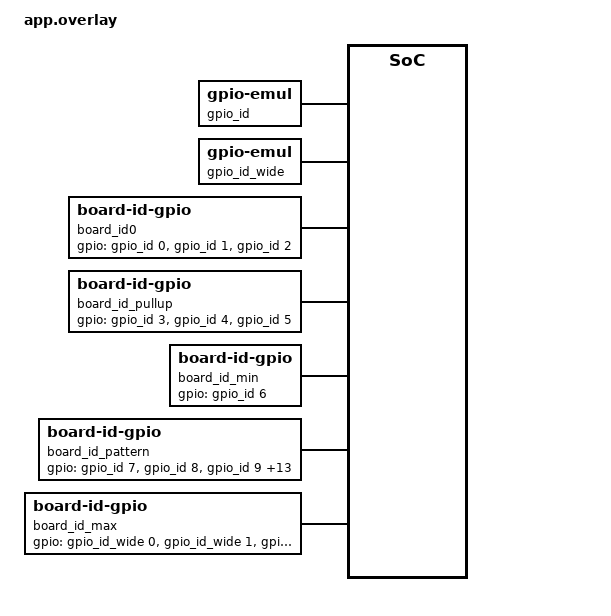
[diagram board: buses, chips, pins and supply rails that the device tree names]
/*
 * SPDX-License-Identifier: Apache-2.0
 * Copyright (c) 2026 The Zephyr Project Contributors
 * Copyright (c) 2026 Dev It Wise
 */

#include <zephyr/dt-bindings/gpio/gpio.h>

/ {
	gpio_id: gpio-id-emul {
		compatible = "zephyr,gpio-emul";
		gpio-controller;
		#gpio-cells = <2>;
		ngpios = <32>;
		status = "okay";
	};

	gpio_id_wide: gpio-id-wide-emul {
		compatible = "zephyr,gpio-emul";
		gpio-controller;
		#gpio-cells = <2>;
		ngpios = <32>;
		status = "okay";
	};

	board_id0: board-id0 {
		compatible = "zephyr,board-id-gpio";
		gpios = <&gpio_id 0 GPIO_ACTIVE_HIGH>,
			<&gpio_id 1 GPIO_ACTIVE_HIGH>,
			<&gpio_id 2 GPIO_ACTIVE_HIGH>;
	};

	board_id_pullup: board-id-pullup {
		compatible = "zephyr,board-id-gpio";
		gpios = <&gpio_id 3 (GPIO_ACTIVE_HIGH | GPIO_PULL_UP)>,
			<&gpio_id 4 (GPIO_ACTIVE_HIGH | GPIO_PULL_UP)>,
			<&gpio_id 5 (GPIO_ACTIVE_HIGH | GPIO_PULL_UP)>;
	};

	board_id_min: board-id-min {
		compatible = "zephyr,board-id-gpio";
		gpios = <&gpio_id 6 GPIO_ACTIVE_HIGH>;
	};

	/*
	 * Known bit pattern to pin the emitted byte order: bit0 (gpios index
	 * 7, first entry) and bit15 (index 22, last entry) pulled high,
	 * everything between floating low. Packed value 0x8001; the driver
	 * must emit it big-endian as { 0x80, 0x01 }.
	 */
	board_id_pattern: board-id-pattern {
		compatible = "zephyr,board-id-gpio";
		gpios = <&gpio_id 7 (GPIO_ACTIVE_HIGH | GPIO_PULL_UP)>,
			<&gpio_id 8 GPIO_ACTIVE_HIGH>,
			<&gpio_id 9 GPIO_ACTIVE_HIGH>,
			<&gpio_id 10 GPIO_ACTIVE_HIGH>,
			<&gpio_id 11 GPIO_ACTIVE_HIGH>,
			<&gpio_id 12 GPIO_ACTIVE_HIGH>,
			<&gpio_id 13 GPIO_ACTIVE_HIGH>,
			<&gpio_id 14 GPIO_ACTIVE_HIGH>,
			<&gpio_id 15 GPIO_ACTIVE_HIGH>,
			<&gpio_id 16 GPIO_ACTIVE_HIGH>,
			<&gpio_id 17 GPIO_ACTIVE_HIGH>,
			<&gpio_id 18 GPIO_ACTIVE_HIGH>,
			<&gpio_id 19 GPIO_ACTIVE_HIGH>,
			<&gpio_id 20 GPIO_ACTIVE_HIGH>,
			<&gpio_id 21 GPIO_ACTIVE_HIGH>,
			<&gpio_id 22 (GPIO_ACTIVE_HIGH | GPIO_PULL_UP)>;
	};

	board_id_max: board-id-max {
		compatible = "zephyr,board-id-gpio";
		gpios = <&gpio_id_wide 0 (GPIO_ACTIVE_HIGH | GPIO_PULL_UP)>,
			<&gpio_id_wide 1 (GPIO_ACTIVE_HIGH | GPIO_PULL_UP)>,
			<&gpio_id_wide 2 (GPIO_ACTIVE_HIGH | GPIO_PULL_UP)>,
			<&gpio_id_wide 3 (GPIO_ACTIVE_HIGH | GPIO_PULL_UP)>,
			<&gpio_id_wide 4 (GPIO_ACTIVE_HIGH | GPIO_PULL_UP)>,
			<&gpio_id_wide 5 (GPIO_ACTIVE_HIGH | GPIO_PULL_UP)>,
			<&gpio_id_wide 6 (GPIO_ACTIVE_HIGH | GPIO_PULL_UP)>,
			<&gpio_id_wide 7 (GPIO_ACTIVE_HIGH | GPIO_PULL_UP)>,
			<&gpio_id_wide 8 (GPIO_ACTIVE_HIGH | GPIO_PULL_UP)>,
			<&gpio_id_wide 9 (GPIO_ACTIVE_HIGH | GPIO_PULL_UP)>,
			<&gpio_id_wide 10 (GPIO_ACTIVE_HIGH | GPIO_PULL_UP)>,
			<&gpio_id_wide 11 (GPIO_ACTIVE_HIGH | GPIO_PULL_UP)>,
			<&gpio_id_wide 12 (GPIO_ACTIVE_HIGH | GPIO_PULL_UP)>,
			<&gpio_id_wide 13 (GPIO_ACTIVE_HIGH | GPIO_PULL_UP)>,
			<&gpio_id_wide 14 (GPIO_ACTIVE_HIGH | GPIO_PULL_UP)>,
			<&gpio_id_wide 15 (GPIO_ACTIVE_HIGH | GPIO_PULL_UP)>,
			<&gpio_id_wide 16 (GPIO_ACTIVE_HIGH | GPIO_PULL_UP)>,
			<&gpio_id_wide 17 (GPIO_ACTIVE_HIGH | GPIO_PULL_UP)>,
			<&gpio_id_wide 18 (GPIO_ACTIVE_HIGH | GPIO_PULL_UP)>,
			<&gpio_id_wide 19 (GPIO_ACTIVE_HIGH | GPIO_PULL_UP)>,
			<&gpio_id_wide 20 (GPIO_ACTIVE_HIGH | GPIO_PULL_UP)>,
			<&gpio_id_wide 21 (GPIO_ACTIVE_HIGH | GPIO_PULL_UP)>,
			<&gpio_id_wide 22 (GPIO_ACTIVE_HIGH | GPIO_PULL_UP)>,
			<&gpio_id_wide 23 (GPIO_ACTIVE_HIGH | GPIO_PULL_UP)>,
			<&gpio_id_wide 24 (GPIO_ACTIVE_HIGH | GPIO_PULL_UP)>,
			<&gpio_id_wide 25 (GPIO_ACTIVE_HIGH | GPIO_PULL_UP)>,
			<&gpio_id_wide 26 (GPIO_ACTIVE_HIGH | GPIO_PULL_UP)>,
			<&gpio_id_wide 27 (GPIO_ACTIVE_HIGH | GPIO_PULL_UP)>,
			<&gpio_id_wide 28 (GPIO_ACTIVE_HIGH | GPIO_PULL_UP)>,
			<&gpio_id_wide 29 (GPIO_ACTIVE_HIGH | GPIO_PULL_UP)>,
			<&gpio_id_wide 30 (GPIO_ACTIVE_HIGH | GPIO_PULL_UP)>,
			<&gpio_id_wide 31 (GPIO_ACTIVE_HIGH | GPIO_PULL_UP)>;
	};
};
